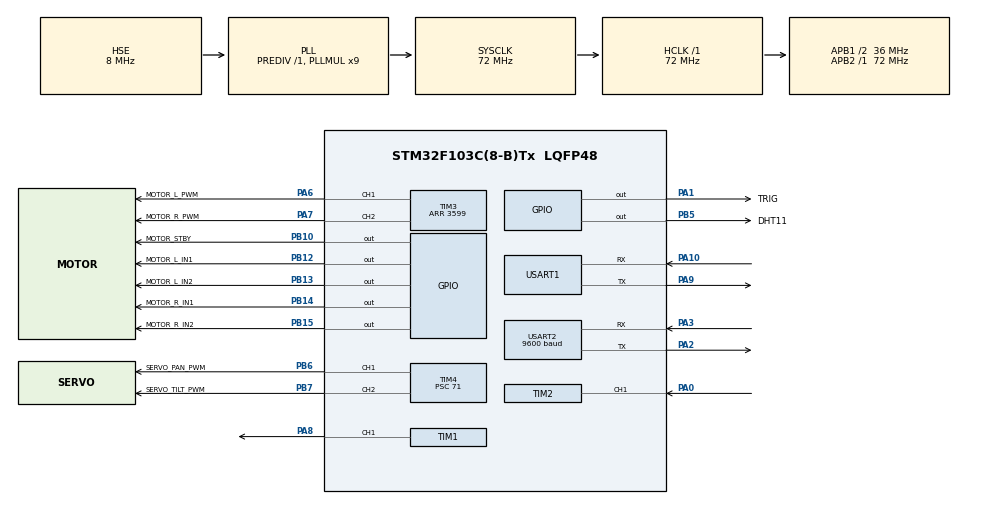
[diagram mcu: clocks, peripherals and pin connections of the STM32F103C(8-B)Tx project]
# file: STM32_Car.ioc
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Dma.Request0=USART1_RX
Dma.Request1=USART1_TX
Dma.Request2=TIM1_CH1
Dma.TIM1_CH1.2.Direction=DMA_MEMORY_TO_PERIPH
Dma.TIM1_CH1.2.Instance=DMA1_Channel2
Dma.TIM1_CH1.2.MemDataAlignment=DMA_MDATAALIGN_HALFWORD
Dma.TIM1_CH1.2.MemInc=DMA_MINC_ENABLE
Dma.TIM1_CH1.2.Mode=DMA_NORMAL
Dma.TIM1_CH1.2.PeriphDataAlignment=DMA_PDATAALIGN_HALFWORD
Dma.TIM1_CH1.2.PeriphInc=DMA_PINC_DISABLE
Dma.TIM1_CH1.2.Priority=DMA_PRIORITY_VERY_HIGH
Dma.USART1_RX.0.Direction=DMA_PERIPH_TO_MEMORY
Dma.USART1_RX.0.Instance=DMA1_Channel5
Dma.USART1_RX.0.MemDataAlignment=DMA_MDATAALIGN_BYTE
Dma.USART1_RX.0.MemInc=DMA_MINC_ENABLE
Dma.USART1_RX.0.Mode=DMA_CIRCULAR
Dma.USART1_RX.0.PeriphDataAlignment=DMA_PDATAALIGN_BYTE
Dma.USART1_RX.0.PeriphInc=DMA_PINC_DISABLE
Dma.USART1_RX.0.Priority=DMA_PRIORITY_HIGH
Dma.USART1_TX.1.Direction=DMA_MEMORY_TO_PERIPH
Dma.USART1_TX.1.Instance=DMA1_Channel4
Dma.USART1_TX.1.MemDataAlignment=DMA_MDATAALIGN_BYTE
Dma.USART1_TX.1.MemInc=DMA_MINC_ENABLE
Dma.USART1_TX.1.Mode=DMA_NORMAL
Dma.USART1_TX.1.PeriphDataAlignment=DMA_PDATAALIGN_BYTE
Dma.USART1_TX.1.PeriphInc=DMA_PINC_DISABLE
Dma.USART1_TX.1.Priority=DMA_PRIORITY_MEDIUM
Mcu.Family=STM32F1
Mcu.Name=STM32F103C(8-B)Tx
Mcu.Package=LQFP48
NVIC.DMA1_Channel2_IRQn=true\:0\:0\:false\:false\:true\:false\:true\:true
NVIC.DMA1_Channel4_IRQn=true\:4\:0\:true\:false\:true\:false\:true\:true
NVIC.DMA1_Channel5_IRQn=true\:3\:0\:true\:false\:true\:false\:true\:true
NVIC.PriorityGroup=NVIC_PRIORITYGROUP_4
NVIC.TIM2_IRQn=true\:0\:0\:false\:false\:true\:true\:true\:true
NVIC.USART1_IRQn=true\:2\:0\:true\:false\:true\:false\:true\:true
PA0-WKUP.Signal=S_TIM2_CH1_ETR
PA1.GPIO_Label=TRIG
PA1.Signal=GPIO_Output
PA10.GPIO_PuPd=GPIO_PULLUP
PA10.Mode=Asynchronous
PA10.Signal=USART1_RX
PA13.Mode=Serial_Wire
PA13.Signal=SYS_JTMS-SWDIO
PA14.Mode=Serial_Wire
PA14.Signal=SYS_JTCK-SWCLK
PA2.Mode=Asynchronous
PA2.Signal=USART2_TX
PA3.Mode=Asynchronous
PA3.Signal=USART2_RX
PA6.GPIO_Label=MOTOR_L_PWM
PA6.Signal=S_TIM3_CH1
PA7.GPIO_Label=MOTOR_R_PWM
PA7.Signal=S_TIM3_CH2
PA8.Signal=S_TIM1_CH1
PA9.Mode=Asynchronous
PA9.Signal=USART1_TX
PB10.GPIO_Label=MOTOR_STBY
PB10.GPIO_Speed=GPIO_SPEED_FREQ_LOW
PB10.Signal=GPIO_Output
PB12.GPIO_Label=MOTOR_L_IN1
PB12.GPIO_ModeDefaultOutputPP=GPIO_MODE_OUTPUT_PP
PB12.GPIO_PuPd=GPIO_NOPULL
PB12.GPIO_Speed=GPIO_SPEED_FREQ_LOW
PB12.PinState=GPIO_PIN_RESET
PB12.Signal=GPIO_Output
PB13.GPIO_Label=MOTOR_L_IN2
PB13.GPIO_Speed=GPIO_SPEED_FREQ_LOW
PB13.PinState=GPIO_PIN_RESET
PB13.Signal=GPIO_Output
PB14.GPIO_Label=MOTOR_R_IN1
PB14.GPIO_Speed=GPIO_SPEED_FREQ_LOW
PB14.Signal=GPIO_Output
PB15.GPIO_Label=MOTOR_R_IN2
PB15.GPIO_Speed=GPIO_SPEED_FREQ_LOW
PB15.Signal=GPIO_Output
PB5.GPIO_Label=DHT11
PB5.GPIO_PuPd=GPIO_PULLUP
PB5.GPIO_Speed=GPIO_SPEED_FREQ_MEDIUM
PB5.PinState=GPIO_PIN_SET
PB5.Signal=GPIO_Output
PB6.GPIO_Label=SERVO_PAN_PWM
PB6.Signal=S_TIM4_CH1
PB7.GPIO_Label=SERVO_TILT_PWM
PB7.Signal=S_TIM4_CH2
PD0-OSC_IN.Mode=HSE-External-Oscillator
PD0-OSC_IN.Signal=RCC_OSC_IN
PD1-OSC_OUT.Mode=HSE-External-Oscillator
PD1-OSC_OUT.Signal=RCC_OSC_OUT
ProjectManager.HeapSize=0x200
ProjectManager.StackSize=0x400
ProjectManager.TargetToolchain=MDK-ARM V5
RCC.AHBFreq_Value=72000000
RCC.APB1CLKDivider=RCC_HCLK_DIV2
RCC.APB1Freq_Value=36000000
RCC.APB1TimFreq_Value=72000000
RCC.APB2Freq_Value=72000000
RCC.APB2TimFreq_Value=72000000
RCC.HCLKFreq_Value=72000000
RCC.PLLMUL=RCC_PLL_MUL9
RCC.PLLSourceVirtual=RCC_PLLSOURCE_HSE
RCC.SYSCLKFreq_VALUE=72000000
RCC.SYSCLKSource=RCC_SYSCLKSOURCE_PLLCLK
RCC.USBFreq_Value=72000000
SH.S_TIM1_CH1.0=TIM1_CH1,PWM Generation1 CH1
SH.S_TIM2_CH1_ETR.0=TIM2_CH1,PWM_Input_1
SH.S_TIM3_CH1.0=TIM3_CH1,PWM Generation1 CH1
SH.S_TIM3_CH2.0=TIM3_CH2,PWM Generation2 CH2
SH.S_TIM4_CH1.0=TIM4_CH1,PWM Generation1 CH1
SH.S_TIM4_CH2.0=TIM4_CH2,PWM Generation2 CH2
TIM1.Channel-PWM\ Generation1\ CH1=TIM_CHANNEL_1
TIM1.Period=89
TIM2.AutoReloadPreload=TIM_AUTORELOAD_PRELOAD_DISABLE
TIM2.ICFilter_1=4
TIM2.ICFilter_2=4
TIM2.Prescaler=71
TIM2.TIM_MasterSlaveMode=TIM_MASTERSLAVEMODE_DISABLE
TIM3.AutoReloadPreload=TIM_AUTORELOAD_PRELOAD_ENABLE
TIM3.Channel-PWM\ Generation1\ CH1=TIM_CHANNEL_1
TIM3.Channel-PWM\ Generation2\ CH2=TIM_CHANNEL_2
TIM3.OCMode_PWM-PWM\ Generation1\ CH1=TIM_OCMODE_PWM1
TIM3.OCMode_PWM-PWM\ Generation2\ CH2=TIM_OCMODE_PWM1
TIM3.Period=3599
TIM4.AutoReloadPreload=TIM_AUTORELOAD_PRELOAD_ENABLE
TIM4.Channel-PWM\ Generation1\ CH1=TIM_CHANNEL_1
TIM4.Channel-PWM\ Generation2\ CH2=TIM_CHANNEL_2
TIM4.Period=19999
TIM4.Prescaler=71
TIM4.Pulse-PWM\ Generation1\ CH1=1500
TIM4.Pulse-PWM\ Generation2\ CH2=1500
USART1.VirtualMode=VM_ASYNC
USART2.BaudRate=9600
USART2.VirtualMode=VM_ASYNC
VP_TIM2_VS_ClockSourceINT.Mode=Internal
VP_TIM3_VS_ClockSourceINT.Mode=Internal
VP_TIM4_VS_ClockSourceINT.Mode=Internal
board=custom

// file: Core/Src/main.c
/* USER CODE BEGIN Header */
/**
  ******************************************************************************
  * @file           : main.c
  * @brief          : Main program body
  ******************************************************************************
  * @attention
  *
  * Copyright (c) 2026 STMicroelectronics.
  * All rights reserved.
  *
  * This software is licensed under terms that can be found in the LICENSE file
  * in the root directory of this software component.
  * If no LICENSE file comes with this software, it is provided AS-IS.
  *
  ******************************************************************************
  */
/* USER CODE END Header */
#include "main.h"
#include "dma.h"
#include "tim.h"
#include "usart.h"
#include "gpio.h"

/* USER CODE BEGIN Includes */
#ifdef ENABLE_STM32_TEST_MODE
#include "test_app.h"
#else
#include "app_main.h"
#endif

/* USER CODE END Includes */

void SystemClock_Config(void);

int main(void)
{

  /* MCU Configuration--------------------------------------------------------*/

  /* Reset of all peripherals, Initializes the Flash interface and the Systick. */
  HAL_Init();

  /* Configure the system clock */
  SystemClock_Config();

  /* Initialize all configured peripherals */
  MX_GPIO_Init();
  MX_DMA_Init();
  MX_TIM2_Init();
  MX_USART1_UART_Init();
  MX_TIM3_Init();
  MX_TIM4_Init();
  MX_TIM1_Init();
  MX_USART2_UART_Init();
  /* USER CODE BEGIN 2 */
#ifdef ENABLE_STM32_TEST_MODE
  TestApp_Init();
#else
  App_Main_Init();
#endif

  /* USER CODE END 2 */

  /* Infinite loop */
  while (1)
  {

    /* USER CODE BEGIN 3 */
#ifdef ENABLE_STM32_TEST_MODE
    TestApp_Loop();
#else
    App_Main_Loop();
#endif
  }
  /* USER CODE END 3 */
}

void SystemClock_Config(void)
{
  RCC_OscInitTypeDef RCC_OscInitStruct = {0};
  RCC_ClkInitTypeDef RCC_ClkInitStruct = {0};

  /** Initializes the RCC Oscillators according to the specified parameters
  * in the RCC_OscInitTypeDef structure.
  */
  RCC_OscInitStruct.OscillatorType = RCC_OSCILLATORTYPE_HSE;
  RCC_OscInitStruct.HSEState = RCC_HSE_ON;
  RCC_OscInitStruct.HSEPredivValue = RCC_HSE_PREDIV_DIV1;
  RCC_OscInitStruct.HSIState = RCC_HSI_ON;
  RCC_OscInitStruct.PLL.PLLState = RCC_PLL_ON;
  RCC_OscInitStruct.PLL.PLLSource = RCC_PLLSOURCE_HSE;
  RCC_OscInitStruct.PLL.PLLMUL = RCC_PLL_MUL9;
  if (HAL_RCC_OscConfig(&RCC_OscInitStruct) != HAL_OK)
  {
    Error_Handler();
  }

  /** Initializes the CPU, AHB and APB buses clocks
  */
  RCC_ClkInitStruct.ClockType = RCC_CLOCKTYPE_HCLK|RCC_CLOCKTYPE_SYSCLK
                              |RCC_CLOCKTYPE_PCLK1|RCC_CLOCKTYPE_PCLK2;
  RCC_ClkInitStruct.SYSCLKSource = RCC_SYSCLKSOURCE_PLLCLK;
  RCC_ClkInitStruct.AHBCLKDivider = RCC_SYSCLK_DIV1;
  RCC_ClkInitStruct.APB1CLKDivider = RCC_HCLK_DIV2;
  RCC_ClkInitStruct.APB2CLKDivider = RCC_HCLK_DIV1;

  if (HAL_RCC_ClockConfig(&RCC_ClkInitStruct, FLASH_LATENCY_2) != HAL_OK)
  {
    Error_Handler();
  }
}

void Error_Handler(void)
{
  __disable_irq();
  while (1)
  {
  }
}
